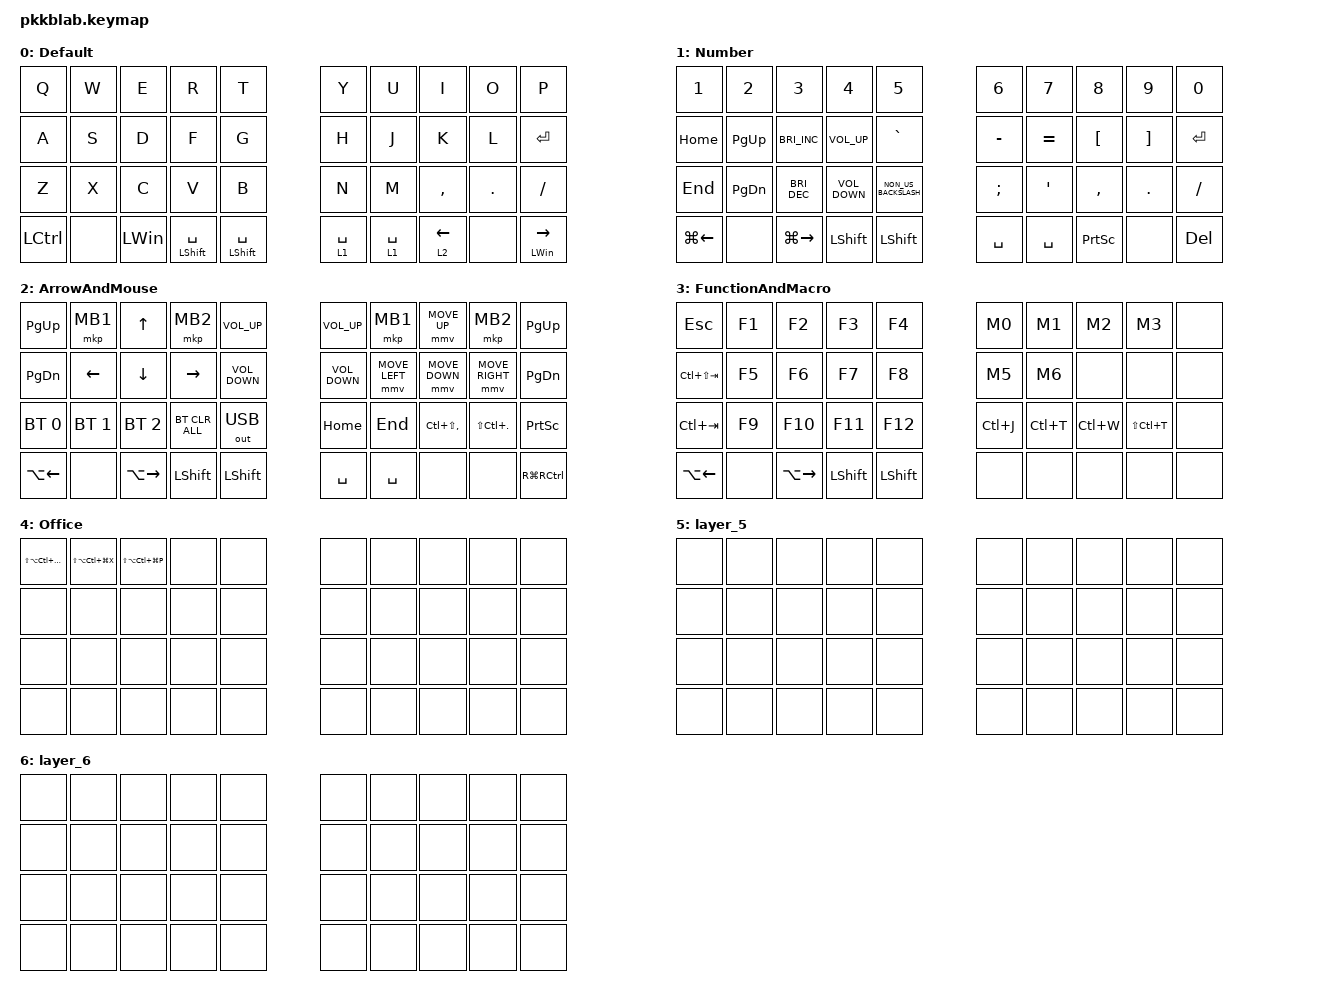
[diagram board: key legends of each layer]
#define ZMK_POINTING_DEFAULT_MOVE_VAL 2500  // default: 600
#define ZMK_POINTING_DEFAULT_SCRL_VAL 40    // default: 10

#include <behaviors.dtsi>
#include <dt-bindings/zmk/bt.h>
#include <dt-bindings/zmk/keys.h>
#include <dt-bindings/zmk/outputs.h>
#include <dt-bindings/zmk/pointing.h>

/ {
    behaviors {
        taptap: taptap {
            compatible = "zmk,behavior-hold-tap";
            label = "TAPTAP";
            bindings = <&kp>, <&kp>;

            #binding-cells = <2>;
            tapping-term-ms = <200>;
            quick-tap-ms = <180>;
            require-prior-idle-ms = <150>;
            flavor = "tap-preferred";
        };

        holdhold: holdhold {
            compatible = "zmk,behavior-hold-tap";
            label = "HOLDHOLD";
            bindings = <&mo>, <&kp>;

            #binding-cells = <2>;
            flavor = "tap-unless-interrupted";
            require-prior-idle-ms = <150>;
            tapping-term-ms = <200>;
            retro-tap;
            quick-tap-ms = <180>;
        };

        momotap: momotap {
            compatible = "zmk,behavior-hold-tap";
            label = "MOMOTAP";
            bindings = <&mo>, <&kp>;

            #binding-cells = <2>;
            tapping-term-ms = <200>;
            quick-tap-ms = <180>;
            require-prior-idle-ms = <150>;
            flavor = "tap-preferred";
        };
    };

    combos {
        compatible = "zmk,combos";

        Tab {
            bindings = <&kp TAB>;
            key-positions = <0 1>;
        };

        Shift {
            bindings = <&kp LEFT_SHIFT>;
            key-positions = <10 11>;
        };

        Ctrl {
            bindings = <&kp LCTRL>;
            key-positions = <20 21>;
        };

        Bootloader-left {
            bindings = <&bootloader>;
            key-positions = <3 2 1 0>;
        };

        Bootloader-right {
            bindings = <&bootloader>;
            key-positions = <9 8 7 6>;
        };

        Backspace {
            bindings = <&kp BACKSPACE>;
            key-positions = <8 9>;
        };

        Delete {
            bindings = <&kp DELETE>;
            key-positions = <7 9>;
        };

        layer4 {
            bindings = <&mo 4>;
            key-positions = <27 28>;
        };

        layer5 {
            bindings = <&mo 5>;
            key-positions = <27 17>;
        };

        layer6 {
            bindings = <&mo 6>;
            key-positions = <18 28>;
        };

        enter {
            bindings = <&kp KP_ENTER>;
            key-positions = <18 19>;
        };

        Number1 {
            bindings = <&kp NUMBER_1>;
            key-positions = <0 10>;
        };

        Number2 {
            bindings = <&kp N2>;
            key-positions = <1 11>;
        };

        Number3 {
            bindings = <&kp NUMBER_3>;
            key-positions = <2 12>;
        };

        Number4 {
            bindings = <&kp NUMBER_4>;
            key-positions = <3 13>;
        };

        Number5 {
            bindings = <&kp N5>;
            key-positions = <4 14>;
        };

        Number6 {
            bindings = <&kp NUMBER_6>;
            key-positions = <5 15>;
        };

        Number7 {
            bindings = <&kp N7>;
            key-positions = <6 16>;
        };

        Number8 {
            bindings = <&kp N8>;
            key-positions = <7 17>;
        };

        Number9 {
            bindings = <&kp N9>;
            key-positions = <8 18>;
        };

        Number0 {
            bindings = <&kp N0>;
            key-positions = <9 19>;
        };

        Left-Enter {
            bindings = <&kp ENTER>;
            key-positions = <13 14>;
        };

        Left-BackSpace {
            bindings = <&kp BACKSPACE>;
            key-positions = <3 4>;
        };
    };

    macros {
        M0: M0 {
            compatible = "zmk,behavior-macro";
            #binding-cells = <0>;
            bindings = <&none &kp N1 &kp N7 &kp N7 &kp N1 &kp N0 &kp N2 &kp N8 &kp N3 &kp N5 &kp N1 &kp N2>;
            label = "M0";
        };

        M1: M1 {
            compatible = "zmk,behavior-macro";
            #binding-cells = <0>;
            bindings = <&none &kp A &kp M &kp Y &kp V &kp O &kp I &kp C &kp E &kp AT &kp N1 &kp N6 &kp N3 &kp DOT &kp C &kp O &kp M>;
            label = "M1";
        };

        M5: M5 {
            compatible = "zmk,behavior-macro";
            #binding-cells = <0>;
            bindings = <&none &kp LS(S) &kp U &kp N &kp N &kp I &kp W &kp E &kp L &kp L &kp DOT &kp N2 &kp N0 &kp N2 &kp N0>;
            label = "M5";
        };

        M2: M2 {
            compatible = "zmk,behavior-macro";
            #binding-cells = <0>;
            bindings = <&none &kp EQUAL &kp LS(V) &kp LS(L) &kp LS(O) &kp LS(O) &kp LS(K) &kp LS(U) &kp LS(P) &kp LPAR &kp LS(A) &kp N2 &kp COMMA &kp DLLR &kp LS(G) &kp DLLR &kp N1 &kp COLON &kp DLLR &kp LS(H) &kp DLLR &kp N1 &kp N5 &kp N8 &kp COMMA &kp N2 &kp COMMA &kp N0 &kp RPAR>;
            label = "M2";
        };

        M3: M3 {
            compatible = "zmk,behavior-macro";
            #binding-cells = <0>;
            bindings = <&none &kp A &kp M &kp Y &kp V &kp O &kp I &kp C &kp E &kp C &kp H &kp E &kp N &kp N0 &kp N0 &kp N1 &kp AT &kp G &kp M &kp A &kp I &kp L &kp DOT &kp C &kp O &kp M>;
            label = "M3";
        };

        M6: M6 {
            compatible = "zmk,behavior-macro";
            #binding-cells = <0>;
            bindings =
                <&none>,
                <&macro_tap>,
                <&kp LC(L) &kp H &kp T &kp T &kp P &kp S &kp COLON &kp FSLH &kp FSLH &kp W &kp W &kp W &kp DOT &kp X &kp I &kp A &kp O &kp H &kp O &kp N &kp G &kp S &kp H &kp U &kp DOT &kp C &kp O &kp M &kp FSLH>,
                <&macro_tap>,
                <&kp SPACE &kp ENTER>;

            label = "M6";
        };
    };

    keymap {
        compatible = "zmk,keymap";

        Default {
            bindings = <
&kp Q      &kp W  &kp E         &kp R                     &kp T                     &kp Y        &kp U        &kp I             &kp O    &kp P
&kp A      &kp S  &kp D         &kp F                     &kp G                     &kp H        &kp J        &kp K             &kp L    &kp ENTER
&kp Z      &kp X  &kp C         &kp V                     &kp B                     &kp N        &kp M        &kp COMMA         &kp DOT  &kp SLASH
&kp LCTRL  &none  &kp LEFT_WIN  &taptap LEFT_SHIFT SPACE  &taptap LEFT_SHIFT SPACE  &lt 1 SPACE  &lt 1 SPACE  &lt 2 LEFT_ARROW  &none    &taptap LEFT_WIN RIGHT_ARROW
            >;
        };

        Number {
            bindings = <
&kp NUMBER_1  &kp NUMBER_2   &kp NUMBER_3          &kp NUMBER_4       &kp N5                &kp NUMBER_6   &kp N7     &kp N8            &kp N9             &kp N0
&kp HOME      &kp PAGE_UP    &kp C_BRIGHTNESS_INC  &kp C_VOLUME_UP    &kp GRAVE             &kp MINUS      &kp EQUAL  &kp LEFT_BRACKET  &kp RIGHT_BRACKET  &kp ENTER
&kp END       &kp PAGE_DOWN  &kp C_BRIGHTNESS_DEC  &kp C_VOLUME_DOWN  &kp NON_US_BACKSLASH  &kp SEMICOLON  &kp SQT    &kp COMMA         &kp PERIOD         &kp SLASH
&kp LG(LEFT)  &none          &kp LG(RIGHT)         &kp LEFT_SHIFT     &kp LEFT_SHIFT        &kp SPACE      &kp SPACE  &kp PRINTSCREEN   &none              &kp DEL
            >;
        };

        ArrowAndMouse {
            bindings = <
&kp PAGE_UP    &mkp MB1      &kp UP_ARROW   &mkp MB2        &kp C_VOLUME_UP    &kp C_VOLUME_UP    &mkp MB1        &mmv MOVE_UP       &mkp MB2            &kp PAGE_UP
&kp PAGE_DOWN  &kp LEFT      &kp DOWN       &kp RIGHT       &kp C_VOLUME_DOWN  &kp C_VOLUME_DOWN  &mmv MOVE_LEFT  &mmv MOVE_DOWN     &mmv MOVE_RIGHT     &kp PAGE_DOWN
&bt BT_SEL 0   &bt BT_SEL 1  &bt BT_SEL 2   &bt BT_CLR_ALL  &out OUT_USB       &kp HOME           &kp END         &kp LC(LS(COMMA))  &kp LS(LC(PERIOD))  &kp PRINTSCREEN
&kp LA(LEFT)   &none         &kp LA(RIGHT)  &kp LEFT_SHIFT  &kp LEFT_SHIFT     &kp SPACE          &kp SPACE       &none              &none               &kp RG(RCTRL)
            >;
        };

        FunctionAndMacro {
            bindings = <
&kp ESC             &kp F1  &kp F2               &kp F3          &kp F4          &M0        &M1        &M2        &M3            &none
&kp LC(LS(TAB))     &kp F5  &kp F6               &kp F7          &kp F8          &M5        &M6        &none      &none          &none
&kp LC(TAB)         &kp F9  &kp F10              &kp F11         &kp F12         &kp LC(J)  &kp LC(T)  &kp LC(W)  &kp LS(LC(T))  &none
&kp LA(LEFT_ARROW)  &none   &kp LA(RIGHT_ARROW)  &kp LEFT_SHIFT  &kp LEFT_SHIFT  &none      &none      &none      &none          &none
            >;
        };

        Office {
            bindings = <
&kp LS(LA(LC(LG(W))))  &kp LS(LA(LC(LG(X))))  &kp LS(LA(LC(LG(P))))  &none  &none  &none  &none  &none  &none  &none
&none                  &none                  &none                  &none  &none  &none  &none  &none  &none  &none
&none                  &none                  &none                  &none  &none  &none  &none  &none  &none  &none
&none                  &none                  &none                  &none  &none  &none  &none  &none  &none  &none
            >;
        };

        layer_5 {
            bindings = <
&none  &none  &none  &none  &none  &none  &none  &none  &none  &none
&none  &none  &none  &none  &none  &none  &none  &none  &none  &none
&none  &none  &none  &none  &none  &none  &none  &none  &none  &none
&none  &none  &none  &none  &none  &none  &none  &none  &none  &none
            >;
        };

        layer_6 {
            bindings = <
&none  &none  &none  &none  &none  &none  &none  &none  &none  &none
&none  &none  &none  &none  &none  &none  &none  &none  &none  &none
&none  &none  &none  &none  &none  &none  &none  &none  &none  &none
&none  &none  &none  &none  &none  &none  &none  &none  &none  &none
            >;
        };
    };
};
